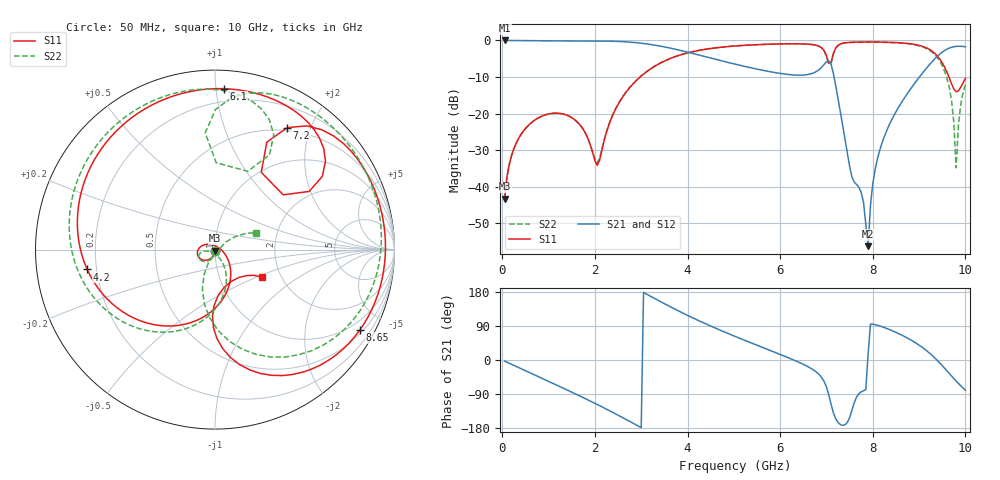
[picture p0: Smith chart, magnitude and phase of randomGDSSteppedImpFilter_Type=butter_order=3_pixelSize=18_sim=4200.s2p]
! freq	dB(S11)	phase(S11)	dB(S12)	phase(S12)
!  dB(S21)	phase(S21)	dB(S22)	phase(S22)
!S-par simulation data
#  GHz  S  DB  R 50
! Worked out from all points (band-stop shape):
!   200 points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, 50 MHz to 10 GHz, reference 50 ohm
!   highest |S21| = -0.01 dB at 50 MHz (marker M1); lowest = -56.3 dB at 7.9 GHz (marker M2)
!   |S21| within 3 dB of the highest: start of sweep to 3.939 GHz; 9.523 GHz to end of sweep
!   lowest |S11| = -43.3 dB at 50 MHz (marker M3), VSWR 1.01, Z = 50 - j0.686 ohm
!   |S11| at or under -10 dB: start of sweep to 2.976 GHz; 9.644 GHz to end of sweep
!   |S22| runs from -43.3 to -0.5 dB; largest |S21 - S12| = 0
!   S11 on the Smith chart (normalised r, x): 50 MHz: 1.00, -0.01; 4.2 GHz: 0.16, -0.08; 6.1 GHz: 0.11, +1.05; 7.2 GHz: 0.46, +1.66; 8.65 GHz: 0.62, -3.77; 10 GHz: 1.59, -0.53
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0.05  -43.27 -90.0  -0.01 -2.9  -0.01 -2.9  -43.27 -89.5
0.25  -29.62 -105.0  -0.03 -14.2  -0.03 -14.2  -29.61 -102.9
0.6  -22.79 -127.0  -0.07 -33.9  -0.07 -33.9  -22.78 -121.6
1.75  -24.37 152.1  -0.13 -99.4  -0.13 -99.4  -24.36 -171.6
2.05  -34.15 61.9  -0.14 -117.4  -0.14 -117.4  -33.49 -117.0
2.55  -16.42 -54.5  -0.30 -148.8  -0.30 -148.8  -16.34 -65.9
3.4  -6.28 -118.8  -1.53 155.1  -1.53 155.1  -6.24 -113.0
4.2  -2.85 -171.2  -3.83 106.2  -3.83 106.2  -2.81 -157.8
5.05  -1.49 140.9  -6.55 61.1  -6.55 61.1  -1.47 160.8
6.1  -0.94 86.9  -9.20 9.8  -9.20 9.8  -0.93 113.3
6.7  -1.13 53.8  -8.98 -24.7  -8.98 -24.7  -1.14 82.4
7.05  -6.24 38.8  -5.56 -91.8  -5.56 -91.8  -6.51 67.3
7.2  -2.05 59.4  -12.37 -155.0  -12.37 -155.0  -2.15 89.8
7.9  -0.44 10.5  -56.26 16.6  -56.26 16.6  -0.48 39.2
8.05  -0.44 2.8  -35.36 93.4  -35.36 93.4  -0.48 30.8
8.35  -0.51 -12.7  -23.24 80.9  -23.24 80.9  -0.56 13.5
8.65  -0.69 -29.0  -16.37 64.2  -16.37 64.2  -0.76 -5.6
9.2  -2.30 -65.8  -6.98 20.8  -6.98 20.8  -2.51 -51.4
9.55  -7.26 -91.2  -2.76 -21.6  -2.76 -21.6  -8.37 -94.5
9.7  -11.83 -86.0  -1.87 -42.3  -1.87 -42.3  -16.34 -113.7
9.8  -14.02 -62.9  -1.63 -55.6  -1.63 -55.6  -34.83 -53.5
10  -10.40 -30.3  -1.72 -79.6  -1.72 -79.6  -12.14 22.6
